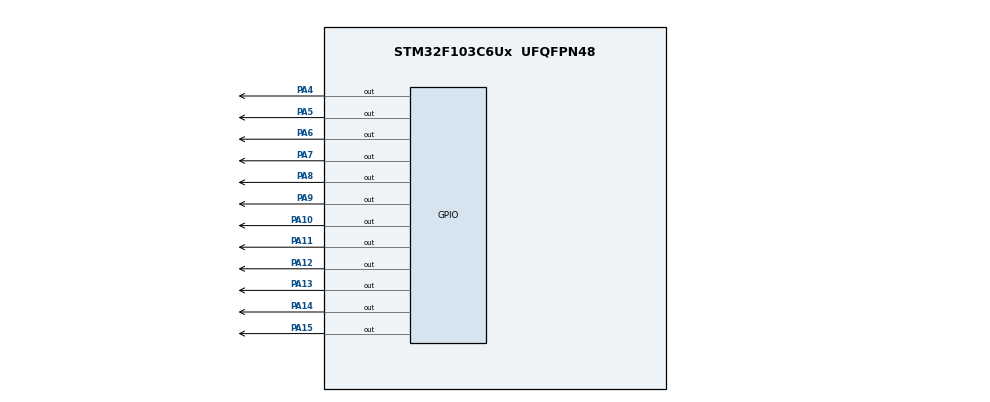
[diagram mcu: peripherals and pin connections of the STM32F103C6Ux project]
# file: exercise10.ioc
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Mcu.Family=STM32F1
Mcu.Name=STM32F103C6Ux
Mcu.Package=UFQFPN48
NVIC.PriorityGroup=NVIC_PRIORITYGROUP_4
PA10.Signal=GPIO_Output
PA11.Signal=GPIO_Output
PA12.Signal=GPIO_Output
PA13.Signal=GPIO_Output
PA14.Signal=GPIO_Output
PA15.Signal=GPIO_Output
PA4.Signal=GPIO_Output
PA5.Signal=GPIO_Output
PA6.Signal=GPIO_Output
PA7.Signal=GPIO_Output
PA8.Signal=GPIO_Output
PA9.Signal=GPIO_Output
ProjectManager.HeapSize=0x200
ProjectManager.StackSize=0x400
ProjectManager.TargetToolchain=STM32CubeIDE
RCC.APB1Freq_Value=8000000
RCC.APB2Freq_Value=8000000
VP_SYS_VS_ND.Mode=No_Debug
board=custom

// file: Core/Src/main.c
/* USER CODE BEGIN Header */
/**
  ******************************************************************************
  * @file           : main.c
  * @brief          : Main program body
  ******************************************************************************
  * @attention
  *
  * <h2><center>&copy; Copyright (c) 2023 STMicroelectronics.
  * All rights reserved.</center></h2>
  *
  * This software component is licensed by ST under BSD 3-Clause license,
  * the "License"; You may not use this file except in compliance with the
  * License. You may obtain a copy of the License at:
  *                        opensource.org/licenses/BSD-3-Clause
  *
  ******************************************************************************
  */
/* USER CODE END Header */
#include "main.h"

void SystemClock_Config(void);
static void MX_GPIO_Init(void);

int main(void)
{

  /* MCU Configuration--------------------------------------------------------*/

  /* Reset of all peripherals, Initializes the Flash interface and the Systick. */
  HAL_Init();

  /* Configure the system clock */
  SystemClock_Config();

  /* Initialize all configured peripherals */
  MX_GPIO_Init();

  /* Infinite loop */
  /* USER CODE BEGIN WHILE */
  uint16_t leds[] = {GPIO_PIN_4, GPIO_PIN_5, GPIO_PIN_6, GPIO_PIN_7,
                     GPIO_PIN_8, GPIO_PIN_9, GPIO_PIN_10, GPIO_PIN_11,
					 GPIO_PIN_12, GPIO_PIN_13, GPIO_PIN_14, GPIO_PIN_15};
  for(int i = 0; i < 12; i++){
	  HAL_GPIO_WritePin(GPIOA, leds[i], GPIO_PIN_SET);
  }
  int hour = 2;
  int minute = 3;
  int second = 9;

  while (1)
  {
	  setNumberOnClock(hour%12);
	  setNumberOnClock((minute/5)%12);
	  setNumberOnClock((second/5)%12);

	  second++;
	  if (second >= 60) {
	      second = 0;
	      minute++;
	      if (minute >= 60) {
	          minute = 0;
	          hour++;
	          if (hour >= 12) {
	              hour = 0;
	          }
	      }
	  }
	  HAL_Delay(1000);
	  clearAllClock();
  }
  /* USER CODE END 3 */
}

void SystemClock_Config(void)
{
  RCC_OscInitTypeDef RCC_OscInitStruct = {0};
  RCC_ClkInitTypeDef RCC_ClkInitStruct = {0};

  /** Initializes the RCC Oscillators according to the specified parameters
  * in the RCC_OscInitTypeDef structure.
  */
  RCC_OscInitStruct.OscillatorType = RCC_OSCILLATORTYPE_HSI;
  RCC_OscInitStruct.HSIState = RCC_HSI_ON;
  RCC_OscInitStruct.HSICalibrationValue = RCC_HSICALIBRATION_DEFAULT;
  RCC_OscInitStruct.PLL.PLLState = RCC_PLL_NONE;
  if (HAL_RCC_OscConfig(&RCC_OscInitStruct) != HAL_OK)
  {
    Error_Handler();
  }
  /** Initializes the CPU, AHB and APB buses clocks
  */
  RCC_ClkInitStruct.ClockType = RCC_CLOCKTYPE_HCLK|RCC_CLOCKTYPE_SYSCLK
                              |RCC_CLOCKTYPE_PCLK1|RCC_CLOCKTYPE_PCLK2;
  RCC_ClkInitStruct.SYSCLKSource = RCC_SYSCLKSOURCE_HSI;
  RCC_ClkInitStruct.AHBCLKDivider = RCC_SYSCLK_DIV1;
  RCC_ClkInitStruct.APB1CLKDivider = RCC_HCLK_DIV1;
  RCC_ClkInitStruct.APB2CLKDivider = RCC_HCLK_DIV1;

  if (HAL_RCC_ClockConfig(&RCC_ClkInitStruct, FLASH_LATENCY_0) != HAL_OK)
  {
    Error_Handler();
  }
}

static void MX_GPIO_Init(void)
{
  GPIO_InitTypeDef GPIO_InitStruct = {0};

  /* GPIO Ports Clock Enable */
  __HAL_RCC_GPIOA_CLK_ENABLE();

  /*Configure GPIO pin Output Level */
  HAL_GPIO_WritePin(GPIOA, GPIO_PIN_4|GPIO_PIN_5|GPIO_PIN_6|GPIO_PIN_7
                          |GPIO_PIN_8|GPIO_PIN_9|GPIO_PIN_10|GPIO_PIN_11
                          |GPIO_PIN_12|GPIO_PIN_13|GPIO_PIN_14|GPIO_PIN_15, GPIO_PIN_RESET);

  /*Configure GPIO pins : PA4 PA5 PA6 PA7
                           PA8 PA9 PA10 PA11
                           PA12 PA13 PA14 PA15 */
  GPIO_InitStruct.Pin = GPIO_PIN_4|GPIO_PIN_5|GPIO_PIN_6|GPIO_PIN_7
                          |GPIO_PIN_8|GPIO_PIN_9|GPIO_PIN_10|GPIO_PIN_11
                          |GPIO_PIN_12|GPIO_PIN_13|GPIO_PIN_14|GPIO_PIN_15;
  GPIO_InitStruct.Mode = GPIO_MODE_OUTPUT_PP;
  GPIO_InitStruct.Pull = GPIO_NOPULL;
  GPIO_InitStruct.Speed = GPIO_SPEED_FREQ_LOW;
  HAL_GPIO_Init(GPIOA, &GPIO_InitStruct);

}

/* USER CODE BEGIN 4 */
void clearAllClock () {
	uint16_t leds[] = {GPIO_PIN_4, GPIO_PIN_5, GPIO_PIN_6, GPIO_PIN_7,
                     		GPIO_PIN_8, GPIO_PIN_9, GPIO_PIN_10, GPIO_PIN_11,
				GPIO_PIN_12, GPIO_PIN_13, GPIO_PIN_14, GPIO_PIN_15};
  	for(int i = 0; i < 12; i++){
	  HAL_GPIO_WritePin(GPIOA, leds[i], GPIO_PIN_SET);
  	}
}

void setNumberOnClock(int num)
{
	uint16_t leds[] = {GPIO_PIN_4, GPIO_PIN_5, GPIO_PIN_6, GPIO_PIN_7,
                     		GPIO_PIN_8, GPIO_PIN_9, GPIO_PIN_10, GPIO_PIN_11,
				GPIO_PIN_12, GPIO_PIN_13, GPIO_PIN_14, GPIO_PIN_15};
	HAL_GPIO_WritePin(GPIOA, leds[num], GPIO_PIN_RESET);
}

void clearNumberOnClock(int num)
{
	uint16_t leds[] = {GPIO_PIN_4, GPIO_PIN_5, GPIO_PIN_6, GPIO_PIN_7,
                     		GPIO_PIN_8, GPIO_PIN_9, GPIO_PIN_10, GPIO_PIN_11,
				GPIO_PIN_12, GPIO_PIN_13, GPIO_PIN_14, GPIO_PIN_15};
	HAL_GPIO_WritePin(GPIOA, leds[num], GPIO_PIN_SET);
}
/* USER CODE END 4 */

void Error_Handler(void)
{
  __disable_irq();
  while (1)
  {
  }
}

/************************ (C) COPYRIGHT STMicroelectronics *****END OF FILE****/
